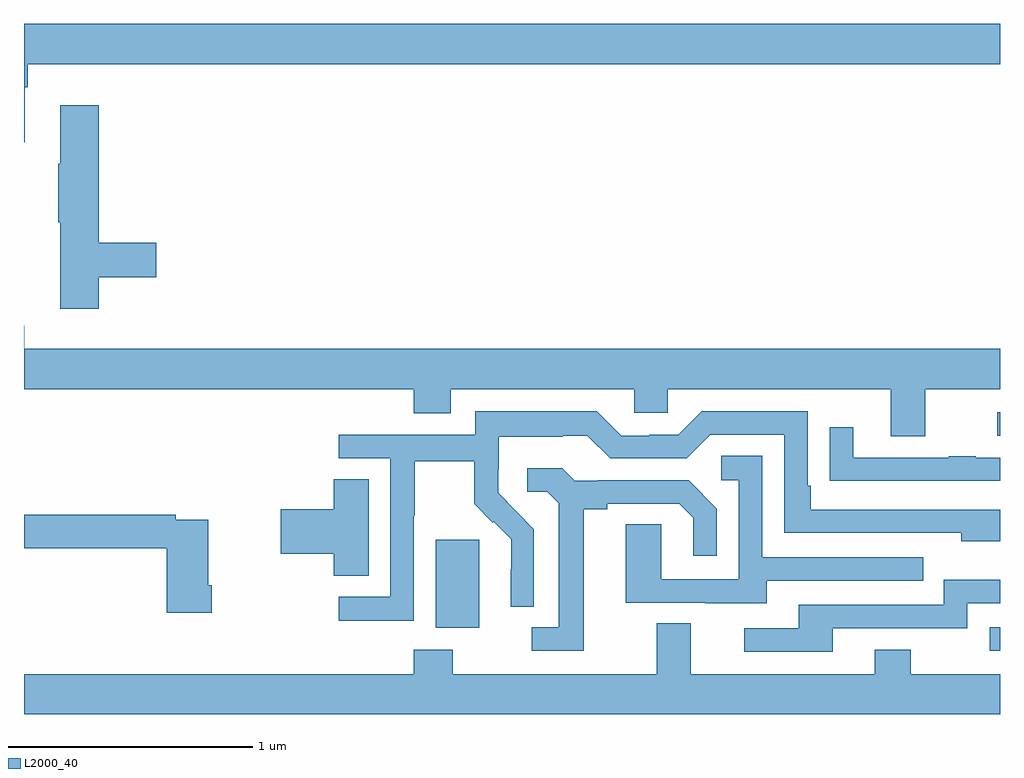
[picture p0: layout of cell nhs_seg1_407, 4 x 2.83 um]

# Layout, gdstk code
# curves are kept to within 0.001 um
import gdstk
lib = gdstk.Library(unit=1e-6, precision=1e-09)
def R(c, l, rs):  # rectangles x0, y0, x1, y1
    for r in rs: c.add(gdstk.rectangle(r[:2], r[2:], *l))
def P(c, l, *ps):  # polygons
    for p in ps: c.add(gdstk.Polygon(p, *l))
L2000_40 = (2000, 40)

nhs_seg1_407 = lib.new_cell('nhs_seg1_407')
R(nhs_seg1_407, L2000_40, [(136.959,550.659,137,550.755), (134.687,550.754,134.866,551.115), (136.989,551.541,137,551.637)])
P(nhs_seg1_407, L2000_40, [(133.003,552.968),(133.016,552.968),(133.016,553.064),(137,553.064),(137,553.228),(133,553.228),(133,552.744),(133.003,552.744)],
  [(133.307,552.19),(133.543,552.19),(133.543,552.332),(133.307,552.332),(133.307,552.895),(133.148,552.895),(133.148,552.656),(133.141,552.656),(133.141,552.415),(133.148,552.415),(133.148,552.06),(133.307,552.06)],
  [(136.693,551.732),(137,551.732),(137,551.896),(133.001,551.896),(133.001,551.992),(133,551.992),(133,551.732),(134.597,551.732),(134.597,551.633),(134.749,551.633),(134.749,551.732),(135.501,551.732),(135.501,551.634),(135.639,551.634),(135.639,551.732),(136.553,551.732),(136.553,551.538),(136.693,551.538)],
  [(134.598,551.212),(134.601,551.212),(134.601,551.436),(134.845,551.436),(134.845,551.261),(134.922,551.184),(134.925,551.187),(134.996,551.117),(134.996,550.994),(134.994,550.994),(134.994,550.84),(135.09,550.84),(135.09,551.158),(134.944,551.306),(134.944,551.403),(134.946,551.403),(134.946,551.537),(135.209,551.537),(135.209,551.541),(135.309,551.541),(135.402,551.448),(135.717,551.448),(135.813,551.544),(136.116,551.544),(136.116,551.142),(136.841,551.142),(136.841,551.108),(137,551.108),(137,551.238),(136.225,551.238),(136.225,551.335),(136.212,551.335),(136.212,551.64),(135.777,551.64),(135.681,551.544),(135.563,551.544),(135.563,551.541),(135.447,551.541),(135.347,551.641),(134.85,551.641),(134.85,551.544),(134.289,551.544),(134.289,551.448),(134.502,551.448),(134.502,550.881),(134.289,550.881),(134.289,550.783),(134.598,550.783)],
  [(137,551.451),(136.901,551.451),(136.901,551.456),(136.789,551.456),(136.789,551.451),(136.399,551.451),(136.399,551.575),(136.303,551.575),(136.303,551.356),(136.405,551.356),(136.405,551.355),(137,551.355)],
  [(136.045,550.947),(136.685,550.947),(136.685,551.043),(136.026,551.043),(136.026,551.459),(135.858,551.459),(135.858,551.358),(135.93,551.358),(135.93,550.953),(135.612,550.953),(135.612,551.177),(135.467,551.177),(135.467,550.857),(135.791,550.857),(135.791,550.853),(136.045,550.853)],
  [(135.295,551.24),(135.391,551.24),(135.391,551.262),(135.686,551.262),(135.743,551.205),(135.743,551.049),(135.84,551.049),(135.84,551.242),(135.724,551.358),(135.352,551.358),(135.352,551.355),(135.258,551.355),(135.206,551.407),(135.063,551.407),(135.063,551.31),(135.144,551.31),(135.191,551.263),(135.191,550.755),(135.081,550.755),(135.081,550.659),(135.295,550.659)],
  [(134.413,551.363),(134.27,551.363),(134.27,551.24),(134.052,551.24),(134.052,551.057),(134.27,551.057),(134.27,550.966),(134.413,550.966)],
  [(133.769,550.927),(133.756,550.927),(133.756,551.196),(133.622,551.196),(133.622,551.216),(133,551.216),(133,551.08),(133.586,551.08),(133.586,550.815),(133.769,550.815)],
  [(136.315,550.752),(136.866,550.752),(136.866,550.854),(137,550.854),(137,550.951),(136.77,550.951),(136.77,550.848),(136.175,550.848),(136.175,550.752),(135.951,550.752),(135.951,550.656),(136.315,550.656)],
  [(137,550.564),(136.635,550.564),(136.635,550.663),(136.487,550.663),(136.487,550.564),(135.733,550.564),(135.733,550.772),(135.593,550.772),(135.593,550.564),(134.757,550.564),(134.757,550.663),(134.597,550.663),(134.597,550.564),(133,550.564),(133,550.4),(137,550.4)])

lib.write_gds('nhs_seg1_407.gds')
